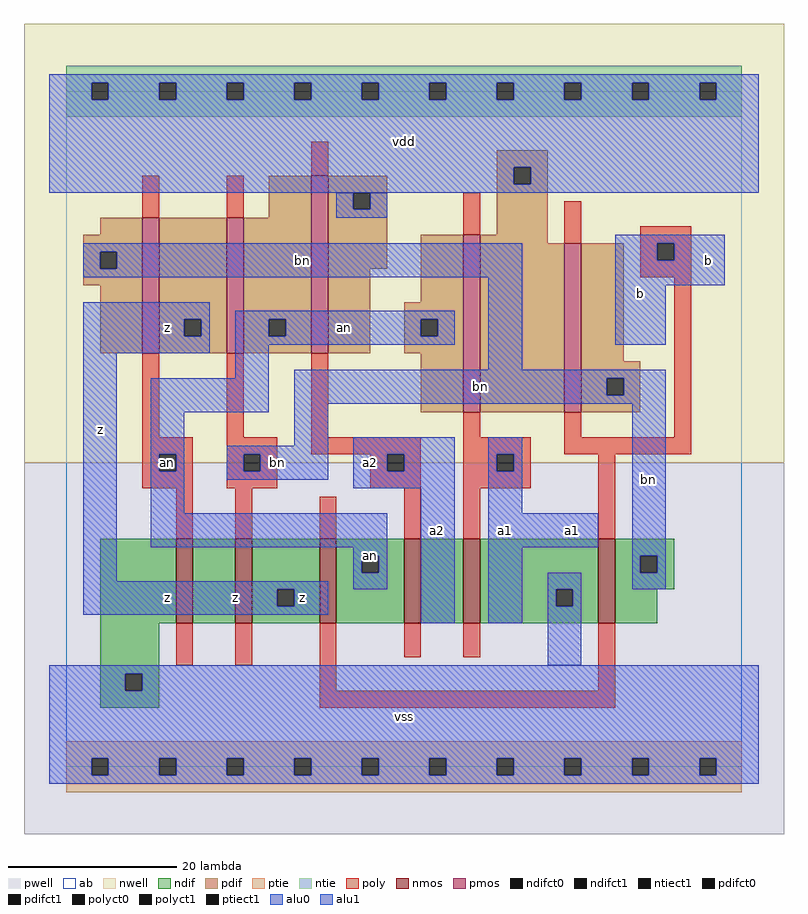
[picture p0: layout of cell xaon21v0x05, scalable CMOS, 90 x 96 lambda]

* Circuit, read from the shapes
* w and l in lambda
.subckt xaon21v0x05 a1 a2 an b bn vdd vss z
M1 n1 an vss vss nfet w=10 l=2
M2 z bn n1 vss nfet w=10 l=2
M3 an b z vss nfet w=10 l=2
M4 n2 a2 an vss nfet w=10 l=2
M5 vss a1 n2 vss nfet w=10 l=2
M6 bn b vss vss nfet w=10 l=2
M7 z an bn vdd pfet w=16 l=2
M8 an bn z vdd pfet w=16 l=2
M9 vdd a2 an vdd pfet w=21 l=2
M10 vdd a1 an vdd pfet w=21 l=2
M11 bn b vdd vdd pfet w=20 l=2
.ends

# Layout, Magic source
magic
tech scmos
<< ab >>
rect 0 0 80 80
<< nwell >>
rect -5 36 85 88
<< pwell >>
rect -5 -8 85 36
<< poly >>
rect 29 70 31 74
rect 9 65 11 70
rect 19 65 21 70
rect 47 63 49 68
rect 9 39 11 49
rect 19 39 21 49
rect 29 39 31 49
rect 59 62 61 67
rect 68 62 74 64
rect 68 60 70 62
rect 72 60 74 62
rect 68 58 74 60
rect 47 39 49 42
rect 59 39 61 42
rect 72 39 74 58
rect 9 37 15 39
rect 9 35 11 37
rect 13 35 15 37
rect 9 33 15 35
rect 19 37 25 39
rect 29 37 42 39
rect 19 35 21 37
rect 23 35 25 37
rect 19 33 25 35
rect 36 35 38 37
rect 40 35 42 37
rect 36 33 42 35
rect 13 27 15 33
rect 20 27 22 33
rect 30 27 32 32
rect 40 27 42 33
rect 47 37 55 39
rect 59 37 74 39
rect 47 35 51 37
rect 53 35 55 37
rect 47 33 55 35
rect 47 27 49 33
rect 63 27 65 37
rect 13 12 15 17
rect 20 12 22 17
rect 30 9 32 17
rect 40 13 42 17
rect 47 13 49 17
rect 63 9 65 17
rect 30 7 65 9
<< ndif >>
rect 4 17 13 27
rect 15 17 20 27
rect 22 21 30 27
rect 22 19 25 21
rect 27 19 30 21
rect 22 17 30 19
rect 32 25 40 27
rect 32 23 35 25
rect 37 23 40 25
rect 32 17 40 23
rect 42 17 47 27
rect 49 21 63 27
rect 49 19 58 21
rect 60 19 63 21
rect 49 17 63 19
rect 65 25 72 27
rect 65 23 68 25
rect 70 23 72 25
rect 65 21 72 23
rect 65 17 70 21
rect 4 11 11 17
rect 4 9 7 11
rect 9 9 11 11
rect 4 7 11 9
<< pdif >>
rect 51 71 57 73
rect 24 65 29 70
rect 4 63 9 65
rect 2 61 9 63
rect 2 59 4 61
rect 6 59 9 61
rect 2 57 9 59
rect 4 49 9 57
rect 11 53 19 65
rect 11 51 14 53
rect 16 51 19 53
rect 11 49 19 51
rect 21 53 29 65
rect 21 51 24 53
rect 26 51 29 53
rect 21 49 29 51
rect 31 68 38 70
rect 51 69 53 71
rect 55 69 57 71
rect 31 66 34 68
rect 36 66 38 68
rect 31 59 38 66
rect 51 63 57 69
rect 31 49 36 59
rect 42 55 47 63
rect 40 53 47 55
rect 40 51 42 53
rect 44 51 47 53
rect 40 49 47 51
rect 42 42 47 49
rect 49 62 57 63
rect 49 42 59 62
rect 61 48 66 62
rect 61 46 68 48
rect 61 44 64 46
rect 66 44 68 46
rect 61 42 68 44
<< alu1 >>
rect -2 81 82 82
rect -2 79 3 81
rect 5 79 11 81
rect 13 79 19 81
rect 21 79 27 81
rect 29 79 35 81
rect 37 79 43 81
rect 45 79 51 81
rect 53 79 59 81
rect 61 79 67 81
rect 69 79 75 81
rect 77 79 82 81
rect -2 71 82 79
rect -2 69 53 71
rect 55 69 82 71
rect -2 68 82 69
rect 65 62 78 63
rect 2 53 17 55
rect 2 51 14 53
rect 16 51 17 53
rect 2 49 17 51
rect 2 22 6 49
rect 65 60 70 62
rect 72 60 78 62
rect 65 57 78 60
rect 65 50 71 57
rect 34 37 46 39
rect 34 35 38 37
rect 40 35 46 37
rect 34 33 46 35
rect 2 21 31 22
rect 2 19 25 21
rect 27 19 31 21
rect 2 18 31 19
rect 42 17 46 33
rect 50 37 54 39
rect 50 35 51 37
rect 53 35 54 37
rect 50 30 54 35
rect 50 26 63 30
rect 50 17 54 26
rect -2 11 82 12
rect -2 9 7 11
rect 9 9 82 11
rect -2 1 82 9
rect -2 -1 3 1
rect 5 -1 11 1
rect 13 -1 19 1
rect 21 -1 27 1
rect 29 -1 35 1
rect 37 -1 43 1
rect 45 -1 51 1
rect 53 -1 59 1
rect 61 -1 67 1
rect 69 -1 75 1
rect 77 -1 82 1
rect -2 -2 82 -1
<< ptie >>
rect 0 1 80 3
rect 0 -1 3 1
rect 5 -1 11 1
rect 13 -1 19 1
rect 21 -1 27 1
rect 29 -1 35 1
rect 37 -1 43 1
rect 45 -1 51 1
rect 53 -1 59 1
rect 61 -1 67 1
rect 69 -1 75 1
rect 77 -1 80 1
rect 0 -3 80 -1
<< ntie >>
rect 0 81 80 83
rect 0 79 3 81
rect 5 79 11 81
rect 13 79 19 81
rect 21 79 27 81
rect 29 79 35 81
rect 37 79 43 81
rect 45 79 51 81
rect 53 79 59 81
rect 61 79 67 81
rect 69 79 75 81
rect 77 79 80 81
rect 0 77 80 79
<< nmos >>
rect 13 17 15 27
rect 20 17 22 27
rect 30 17 32 27
rect 40 17 42 27
rect 47 17 49 27
rect 63 17 65 27
<< pmos >>
rect 9 49 11 65
rect 19 49 21 65
rect 29 49 31 70
rect 47 42 49 63
rect 59 42 61 62
<< polyct0 >>
rect 11 35 13 37
rect 21 35 23 37
<< polyct1 >>
rect 70 60 72 62
rect 38 35 40 37
rect 51 35 53 37
<< ndifct0 >>
rect 35 23 37 25
rect 58 19 60 21
rect 68 23 70 25
<< ndifct1 >>
rect 25 19 27 21
rect 7 9 9 11
<< ntiect1 >>
rect 3 79 5 81
rect 11 79 13 81
rect 19 79 21 81
rect 27 79 29 81
rect 35 79 37 81
rect 43 79 45 81
rect 51 79 53 81
rect 59 79 61 81
rect 67 79 69 81
rect 75 79 77 81
<< ptiect1 >>
rect 3 -1 5 1
rect 11 -1 13 1
rect 19 -1 21 1
rect 27 -1 29 1
rect 35 -1 37 1
rect 43 -1 45 1
rect 51 -1 53 1
rect 59 -1 61 1
rect 67 -1 69 1
rect 75 -1 77 1
<< pdifct0 >>
rect 4 59 6 61
rect 24 51 26 53
rect 34 66 36 68
rect 42 51 44 53
rect 64 44 66 46
<< pdifct1 >>
rect 14 51 16 53
rect 53 69 55 71
<< alu0 >>
rect 32 66 34 68
rect 36 66 38 68
rect 32 65 38 66
rect 2 61 54 62
rect 2 59 4 61
rect 6 59 54 61
rect 2 58 54 59
rect 20 53 46 54
rect 20 51 24 53
rect 26 51 42 53
rect 44 51 46 53
rect 20 50 46 51
rect 20 46 24 50
rect 50 47 54 58
rect 10 42 24 46
rect 27 46 71 47
rect 27 44 64 46
rect 66 44 71 46
rect 27 43 71 44
rect 10 37 14 42
rect 27 38 31 43
rect 10 35 11 37
rect 13 35 14 37
rect 10 30 14 35
rect 19 37 31 38
rect 19 35 21 37
rect 23 35 31 37
rect 19 34 31 35
rect 10 26 38 30
rect 34 25 38 26
rect 34 23 35 25
rect 37 23 38 25
rect 34 21 38 23
rect 67 25 71 43
rect 67 23 68 25
rect 70 23 71 25
rect 57 21 61 23
rect 67 21 71 23
rect 57 19 58 21
rect 60 19 61 21
rect 57 12 61 19
<< labels >>
rlabel polyct0 12 36 12 36 6 an
rlabel alu0 25 36 25 36 6 bn
rlabel alu0 36 25 36 25 6 an
rlabel alu0 33 52 33 52 6 an
rlabel alu0 28 60 28 60 6 bn
rlabel alu0 69 34 69 34 6 bn
rlabel alu0 49 45 49 45 6 bn
rlabel alu1 12 20 12 20 6 z
rlabel alu1 4 40 4 40 6 z
rlabel alu1 12 52 12 52 6 z
rlabel alu1 28 20 28 20 6 z
rlabel alu1 20 20 20 20 6 z
rlabel alu1 36 36 36 36 6 a2
rlabel alu1 40 6 40 6 6 vss
rlabel alu1 44 28 44 28 6 a2
rlabel alu1 52 28 52 28 6 a1
rlabel alu1 40 74 40 74 6 vdd
rlabel alu1 60 28 60 28 6 a1
rlabel alu1 68 56 68 56 6 b
rlabel alu1 76 60 76 60 6 b
<< end >>
